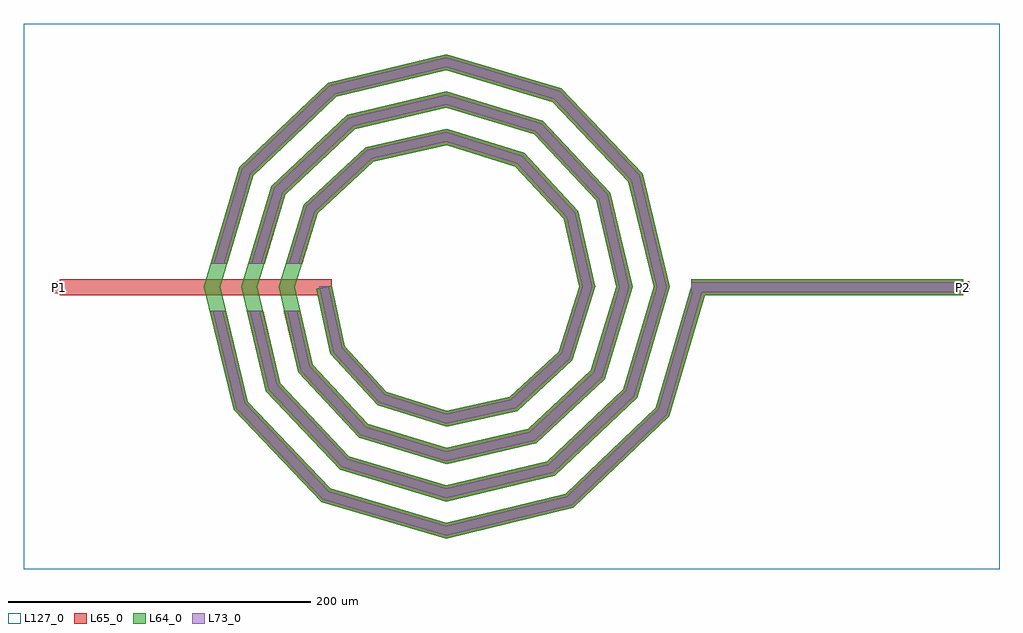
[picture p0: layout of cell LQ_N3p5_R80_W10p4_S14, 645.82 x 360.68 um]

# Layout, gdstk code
import gdstk
lib = gdstk.Library(unit=1e-6, precision=1e-09)
def R(c, l, rs):  # rectangles x0, y0, x1, y1
    for r in rs: c.add(gdstk.rectangle(r[:2], r[2:], *l))
def P(c, l, *ps):  # polygons
    for p in ps: c.add(gdstk.Polygon(p, *l))
L64_0 = (64, 0)
L65_0 = (65, 0)
L73_0 = (73, 0)
L127_0 = (127, 0)

lq_n3p5_r80_w10p4_s14 = lib.new_cell('LQ_N3p5_R80_W10p4_S14')
R(lq_n3p5_r80_w10p4_s14, L64_0, [(162.098,-5.2,342.098,5.2)])
P(lq_n3p5_r80_w10p4_s14, L64_0, [(-67.076,-39.014),(-39.616,-69.102),(0.237,-81.709),(42.083,-72.427),(74.437,-42.715),(87.878,0.221),(77.778,45.155),(45.812,79.773),(0.208,94.048),(-48.228,83.127),(-85.11,48.908),(-100.218,0.196),(-88.476,-51.303),(-52.002,-90.447),(0.185,-106.387),(54.379,-93.824),(95.785,-55.096),(112.557,0.175),(99.172,57.456),(58.188,101.124),(0.166,118.727),(-60.533,104.52),(-106.463,61.28),(-124.896,0.159),(-109.866,-63.612),(-64.372,-111.802),(0.151,-131.066),(66.691,-115.213),(117.142,-67.462),(137.236,0.145),(120.56,69.77),(70.553,122.482),(0.139,143.406),(-72.85,125.906),(-127.823,73.643),(-149.576,0.133),(-131.252,-75.93),(-76.732,-133.163),(0.128,-155.746),(79.011,-136.598),(138.504,-79.821),(162.307,1.461),(172.288,-1.461),(147.702,-85.42),(84.174,-146.046),(0.128,-166.51),(-82.339,-142.356),(-140.705,-81.084),(-160.34,0.133),(-137.01,79.259),(-77.995,135.364),(0.139,154.17),(76.178,131.663),(130.024,74.904),(148,0.145),(126.317,-73.099),(71.814,-124.684),(0.151,-141.829),(-70.019,-120.97),(-119.344,-68.723),(-135.659,0.159),(-115.623,66.941),(-65.631,114.004),(0.166,129.489),(63.863,110.275),(108.665,62.539),(123.319,0.175),(104.927,-60.785),(59.446,-103.326),(0.185,-117.149),(-57.709,-99.578),(-97.987,-56.351),(-110.978,0.196),(-94.229,54.633),(-53.256,92.649),(0.208,104.808),(51.559,88.879),(87.312,50.16),(98.637,0.221),(83.528,-48.486),(47.061,-81.976),(0.237,-92.467),(-45.415,-78.176),(-76.64,-43.961),(-85.998,-1.109),(-75.838,1.109)])
R(lq_n3p5_r80_w10p4_s14, L65_0, [(-255.718,-5.2,-75.718,5.2), (162.098,-5.2,342.098,5.2), (-259.718,-4,-251.718,4), (338.098,-4,346.098,4)])
P(lq_n3p5_r80_w10p4_s14, L65_0, [(-131.252,-75.93),(-76.732,-133.164),(0.128,-155.746),(79.011,-136.598),(138.504,-79.821),(162.307,1.461),(172.288,-1.461),(147.702,-85.42),(84.174,-146.046),(0.128,-166.51),(-82.339,-142.356),(-140.705,-81.084),(-156.536,-15.6),(-145.837,-15.6)],
  [(-109.867,-63.612),(-64.372,-111.802),(0.151,-131.066),(66.691,-115.213),(117.142,-67.463),(137.236,0.145),(120.56,69.77),(70.553,122.482),(0.139,143.406),(-72.85,125.906),(-127.823,73.643),(-144.937,15.6),(-155.779,15.6),(-137.01,79.259),(-77.995,135.365),(0.139,154.17),(76.178,131.663),(130.024,74.905),(148,0.145),(126.317,-73.099),(71.814,-124.684),(0.151,-141.829),(-70.02,-120.97),(-119.344,-68.723),(-131.927,-15.6),(-121.239,-15.6)],
  [(-88.476,-51.303),(-52.002,-90.447),(0.185,-106.387),(54.379,-93.824),(95.785,-55.096),(112.557,0.175),(99.172,57.456),(58.189,101.124),(0.166,118.727),(-60.533,104.52),(-106.463,61.28),(-120.168,15.6),(-131.026,15.6),(-115.623,66.941),(-65.631,114.004),(0.166,129.489),(63.863,110.275),(108.665,62.539),(123.319,0.175),(104.927,-60.785),(59.446,-103.326),(0.185,-117.149),(-57.709,-99.578),(-97.987,-56.351),(-107.349,-15.6),(-96.678,-15.6)],
  [(-39.616,-69.103),(0.237,-81.709),(42.083,-72.427),(74.437,-42.715),(87.878,0.221),(77.778,45.155),(45.812,79.773),(0.208,94.048),(-48.228,83.127),(-85.11,48.908),(-95.358,15.6),(-106.239,15.6),(-94.229,54.634),(-53.256,92.649),(0.208,104.808),(51.559,88.879),(87.312,50.16),(98.637,0.221),(83.528,-48.486),(47.061,-81.976),(0.237,-92.467),(-45.415,-78.176),(-76.64,-43.961),(-85.998,-1.109),(-75.838,1.109),(-67.076,-39.014)])
R(lq_n3p5_r80_w10p4_s14, L73_0, [(162.098,-3.2,342.098,3.2)])
P(lq_n3p5_r80_w10p4_s14, L73_0, [(-133.07,-76.921),(-77.81,-134.931),(0.079,-157.816),(80.004,-138.415),(140.273,-80.898),(164.227,0.899),(170.369,0.899),(145.933,-84.343),(83.181,-144.229),(0.079,-164.44),(-81.261,-140.588),(-138.887,-80.093),(-154.479,-15.6),(-147.894,-15.6)],
  [(-111.689,-64.595),(-65.458,-113.565),(0.093,-133.136),(67.676,-117.034),(118.907,-68.546),(139.306,0.089),(122.38,70.757),(71.635,124.248),(0.085,145.476),(-73.839,127.725),(-129.59,74.723),(-147.022,15.6),(-153.694,15.6),(-135.243,78.179),(-77.005,133.546),(0.085,152.1),(75.097,129.898),(128.204,73.917),(145.93,0.089),(124.552,-72.015),(70.829,-122.862),(0.093,-139.76),(-68.933,-119.207),(-117.521,-67.74),(-129.871,-15.6),(-123.294,-15.6)],
  [(-90.305,-52.274),(-53.1,-92.203),(0.114,-108.457),(55.353,-95.651),(97.543,-56.19),(114.627,0.108),(100.998,58.433),(59.28,102.884),(0.102,120.796),(-61.514,106.343),(-108.224,62.369),(-122.256,15.6),(-128.938,15.6),(-113.861,65.852),(-64.651,112.18),(0.102,127.419),(62.772,108.515),(106.839,61.561),(121.249,0.108),(103.169,-59.691),(58.471,-101.498),(0.114,-115.079),(-56.612,-97.822),(-96.158,-55.381),(-105.297,-15.6),(-98.731,-15.6)],
  [(-40.731,-70.847),(0.146,-83.778),(43.041,-74.263),(76.185,-43.825),(89.947,0.136),(79.611,46.117),(46.917,81.524),(0.128,96.117),(-49.195,84.958),(-86.863,50.009),(-97.45,15.6),(-104.146,15.6),(-92.475,53.532),(-52.289,90.818),(0.128,102.739),(50.454,87.128),(85.479,49.197),(96.568,0.136),(81.78,-47.377),(46.104,-80.14),(0.146,-90.398),(-44.3,-76.431),(-74.801,-43.01),(-84.044,0.683),(-77.792,0.683),(-68.915,-39.965)])
R(lq_n3p5_r80_w10p4_s14, L127_0, [(-279.718,-186.51,366.098,174.17)])
lq_n3p5_r80_w10p4_s14.add(gdstk.Label('P2', (342.098,0), layer=65, texttype=0))
lq_n3p5_r80_w10p4_s14.add(gdstk.Label('P1', (-255.718,0), layer=65, texttype=0))
lq_n3p5_r80_w10p4_s14.add(gdstk.Label('P2', (346.098,0), layer=145, texttype=0))
lq_n3p5_r80_w10p4_s14.add(gdstk.Label('P1', (-259.718,0), layer=145, texttype=0))

lib.write_gds('LQ_N3p5_R80_W10p4_S14.gds')
